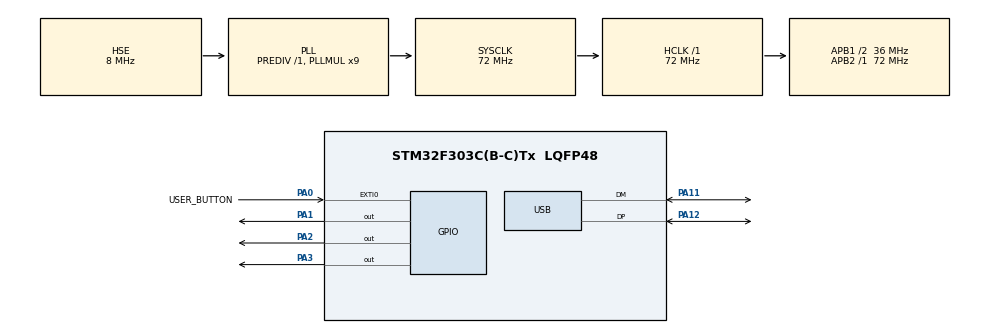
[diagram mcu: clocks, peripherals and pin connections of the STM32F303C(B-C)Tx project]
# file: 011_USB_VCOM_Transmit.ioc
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Mcu.Family=STM32F3
Mcu.Name=STM32F303C(B-C)Tx
Mcu.Package=LQFP48
NVIC.EXTI0_IRQn=true\:0\:0\:false\:false\:true\:true\:true\:true
NVIC.PriorityGroup=NVIC_PRIORITYGROUP_4
NVIC.USB_LP_CAN_RX0_IRQn=true\:0\:0\:false\:false\:true\:false\:true\:true
PA0.GPIO_Label=USER_BUTTON
PA0.Signal=GPXTI0
PA1.Signal=GPIO_Output
PA11.Mode=Device
PA11.Signal=USB_DM
PA12.Mode=Device
PA12.Signal=USB_DP
PA13.Mode=Serial_Wire
PA13.Signal=SYS_JTMS-SWDIO
PA14.Mode=Serial_Wire
PA14.Signal=SYS_JTCK-SWCLK
PA2.Signal=GPIO_Output
PA3.Signal=GPIO_Output
PF0-OSC_IN.Mode=HSE-External-Oscillator
PF0-OSC_IN.Signal=RCC_OSC_IN
PF1-OSC_OUT.Mode=HSE-External-Oscillator
PF1-OSC_OUT.Signal=RCC_OSC_OUT
ProjectManager.HeapSize=0x200
ProjectManager.StackSize=0x400
ProjectManager.TargetToolchain=STM32CubeIDE
RCC.AHBFreq_Value=72000000
RCC.APB1CLKDivider=RCC_HCLK_DIV2
RCC.APB1Freq_Value=36000000
RCC.APB1TimFreq_Value=72000000
RCC.APB2Freq_Value=72000000
RCC.APB2TimFreq_Value=72000000
RCC.CortexFreq_Value=72000000
RCC.HCLKFreq_Value=72000000
RCC.HSE_VALUE=8000000
RCC.HSI_VALUE=8000000
RCC.LSE_VALUE=32768
RCC.PLLMUL=RCC_PLL_MUL9
RCC.PRESCALERUSB=RCC_USBCLKSOURCE_PLL_DIV1_5
RCC.SYSCLKFreq_VALUE=72000000
RCC.SYSCLKSourceVirtual=RCC_SYSCLKSOURCE_PLLCLK
RCC.USBFreq_Value=48000000
USB_DEVICE.APP_RX_DATA_SIZE=64
USB_DEVICE.APP_TX_DATA_SIZE=64
USB_DEVICE.CLASS_NAME_FS=CDC
USB_DEVICE.VirtualMode=Cdc
USB_DEVICE.VirtualModeFS=Cdc_FS
VP_RTC_VS_RTC_Activate.Mode=RTC_Enabled
VP_RTC_VS_RTC_Calendar.Mode=RTC_Calendar
VP_USB_DEVICE_VS_USB_DEVICE_CDC_FS.Mode=CDC_FS
board=custom

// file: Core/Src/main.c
/* USER CODE BEGIN Header */
/**
  ******************************************************************************
  * @file           : main.c
  * @brief          : Main program body
  ******************************************************************************
  * @attention
  *
  * Copyright (c) 2024 STMicroelectronics.
  * All rights reserved.
  *
  * This software is licensed under terms that can be found in the LICENSE file
  * in the root directory of this software component.
  * If no LICENSE file comes with this software, it is provided AS-IS.
  *
  ******************************************************************************
  */
/* USER CODE END Header */
#include "main.h"
#include "usb_device.h"

/* USER CODE BEGIN Includes */
#include "usbd_cdc_if.h"
#include "btn_handler.h"
#include <stdint.h>
#include <stdarg.h>
/* USER CODE END Includes */

RTC_HandleTypeDef hrtc;

/* USER CODE BEGIN PV */
extern USBD_HandleTypeDef hUsbDeviceFS;
uint8_t button_pressed = 0;
/* USER CODE END PV */

void SystemClock_Config(void);
static void MX_GPIO_Init(void);
static void MX_RTC_Init(void);

/* USER CODE BEGIN 0 */
void printmsg(char *format,...)
{
	char str[80];

	/*Extract the the argument list using VA apis */
	va_list args;
	va_start(args, format);
	vsprintf(str, format,args);
	CDC_Transmit_FS((uint8_t *)str, strlen(str));
	va_end(args);
}

/* USER CODE END 0 */

int main(void)
{

  /* USER CODE BEGIN 1 */
  uint8_t btn_val;
  /* USER CODE END 1 */

  /* MCU Configuration--------------------------------------------------------*/

  /* Reset of all peripherals, Initializes the Flash interface and the Systick. */
  HAL_Init();

  /* Configure the system clock */
  SystemClock_Config();

  /* Initialize all configured peripherals */
  MX_GPIO_Init();
  MX_USB_DEVICE_Init();
  MX_RTC_Init();
  /* USER CODE BEGIN 2 */
  HAL_Delay(500);
  printmsg("RTC calendar:\r\n");
  /* USER CODE END 2 */

  /* Infinite loop */
  while (1)
  {

    /* USER CODE BEGIN 3 */
    if (button_pressed) {
      btn_val = read_btn_state(USER_BUTTON_GPIO_Port, USER_BUTTON_Pin);

      btn_val = handle_user_btn(btn_val);// switch de-bounce
      if (btn_val == GPIO_PIN_SET) {
        process_button_press(&hrtc);
        button_pressed = 0;
      }
    }
  }
  /* USER CODE END 3 */
}

void SystemClock_Config(void)
{
  RCC_OscInitTypeDef RCC_OscInitStruct = {0};
  RCC_ClkInitTypeDef RCC_ClkInitStruct = {0};
  RCC_PeriphCLKInitTypeDef PeriphClkInit = {0};

  /** Initializes the RCC Oscillators according to the specified parameters
  * in the RCC_OscInitTypeDef structure.
  */
  RCC_OscInitStruct.OscillatorType = RCC_OSCILLATORTYPE_LSI|RCC_OSCILLATORTYPE_HSE;
  RCC_OscInitStruct.HSEState = RCC_HSE_ON;
  RCC_OscInitStruct.HSEPredivValue = RCC_HSE_PREDIV_DIV1;
  RCC_OscInitStruct.HSIState = RCC_HSI_ON;
  RCC_OscInitStruct.LSIState = RCC_LSI_ON;
  RCC_OscInitStruct.PLL.PLLState = RCC_PLL_ON;
  RCC_OscInitStruct.PLL.PLLSource = RCC_PLLSOURCE_HSE;
  RCC_OscInitStruct.PLL.PLLMUL = RCC_PLL_MUL9;
  if (HAL_RCC_OscConfig(&RCC_OscInitStruct) != HAL_OK)
  {
    Error_Handler();
  }

  /** Initializes the CPU, AHB and APB buses clocks
  */
  RCC_ClkInitStruct.ClockType = RCC_CLOCKTYPE_HCLK|RCC_CLOCKTYPE_SYSCLK
                              |RCC_CLOCKTYPE_PCLK1|RCC_CLOCKTYPE_PCLK2;
  RCC_ClkInitStruct.SYSCLKSource = RCC_SYSCLKSOURCE_PLLCLK;
  RCC_ClkInitStruct.AHBCLKDivider = RCC_SYSCLK_DIV1;
  RCC_ClkInitStruct.APB1CLKDivider = RCC_HCLK_DIV2;
  RCC_ClkInitStruct.APB2CLKDivider = RCC_HCLK_DIV1;

  if (HAL_RCC_ClockConfig(&RCC_ClkInitStruct, FLASH_LATENCY_2) != HAL_OK)
  {
    Error_Handler();
  }
  PeriphClkInit.PeriphClockSelection = RCC_PERIPHCLK_USB|RCC_PERIPHCLK_RTC;
  PeriphClkInit.RTCClockSelection = RCC_RTCCLKSOURCE_LSI;
  PeriphClkInit.USBClockSelection = RCC_USBCLKSOURCE_PLL_DIV1_5;
  if (HAL_RCCEx_PeriphCLKConfig(&PeriphClkInit) != HAL_OK)
  {
    Error_Handler();
  }
}

static void MX_RTC_Init(void)
{

  RTC_TimeTypeDef sTime = {0};
  RTC_DateTypeDef sDate = {0};

  /** Initialize RTC Only
  */
  hrtc.Instance = RTC;
  hrtc.Init.HourFormat = RTC_HOURFORMAT_12;
  hrtc.Init.AsynchPrediv = 127;
  hrtc.Init.SynchPrediv = 255;
  hrtc.Init.OutPut = RTC_OUTPUT_DISABLE;
  hrtc.Init.OutPutPolarity = RTC_OUTPUT_POLARITY_HIGH;
  hrtc.Init.OutPutType = RTC_OUTPUT_TYPE_OPENDRAIN;
  if (HAL_RTC_Init(&hrtc) != HAL_OK)
  {
    Error_Handler();
  }

  /** Initialize RTC and set the Time and Date
  */
  sTime.Hours = 15;
  sTime.Minutes = 45;
  sTime.Seconds = 0;
  sTime.DayLightSaving = RTC_DAYLIGHTSAVING_NONE;
  sTime.StoreOperation = RTC_STOREOPERATION_RESET;
  if (HAL_RTC_SetTime(&hrtc, &sTime, RTC_FORMAT_BIN) != HAL_OK)
  {
    Error_Handler();
  }
  sDate.WeekDay = RTC_WEEKDAY_WEDNESDAY;
  sDate.Month = RTC_MONTH_SEPTEMBER;
  sDate.Date = 11;
  sDate.Year = 24;

  if (HAL_RTC_SetDate(&hrtc, &sDate, RTC_FORMAT_BIN) != HAL_OK)
  {
    Error_Handler();
  }

}

static void MX_GPIO_Init(void)
{
  GPIO_InitTypeDef GPIO_InitStruct = {0};

  /* GPIO Ports Clock Enable */
  __HAL_RCC_GPIOF_CLK_ENABLE();
  __HAL_RCC_GPIOA_CLK_ENABLE();

  /*Configure GPIO pin Output Level */
  HAL_GPIO_WritePin(GPIOA, GPIO_PIN_1|GPIO_PIN_2|GPIO_PIN_3, GPIO_PIN_RESET);

  /*Configure GPIO pin : USER_BUTTON_Pin */
  GPIO_InitStruct.Pin = USER_BUTTON_Pin;
  GPIO_InitStruct.Mode = GPIO_MODE_IT_RISING;
  GPIO_InitStruct.Pull = GPIO_NOPULL;
  HAL_GPIO_Init(USER_BUTTON_GPIO_Port, &GPIO_InitStruct);

  /*Configure GPIO pins : PA1 PA2 PA3 */
  GPIO_InitStruct.Pin = GPIO_PIN_1|GPIO_PIN_2|GPIO_PIN_3;
  GPIO_InitStruct.Mode = GPIO_MODE_OUTPUT_PP;
  GPIO_InitStruct.Pull = GPIO_NOPULL;
  GPIO_InitStruct.Speed = GPIO_SPEED_FREQ_LOW;
  HAL_GPIO_Init(GPIOA, &GPIO_InitStruct);

  /* EXTI interrupt init*/
  HAL_NVIC_SetPriority(EXTI0_IRQn, 0, 0);
  HAL_NVIC_EnableIRQ(EXTI0_IRQn);

}

/* USER CODE BEGIN 4 */
/**
  * @brief  EXTI line detection callback.
  * @param  GPIO_Pin Specifies the port pin connected to corresponding EXTI line.
  * @retval None
  */
void HAL_GPIO_EXTI_Callback(uint16_t GPIO_Pin) {
  if (GPIO_Pin == GPIO_PIN_0) {
    button_pressed = GPIO_PIN_SET;
  }
}
/* USER CODE END 4 */

void Error_Handler(void)
{
  __disable_irq();
  while (1)
  {
  }
}
